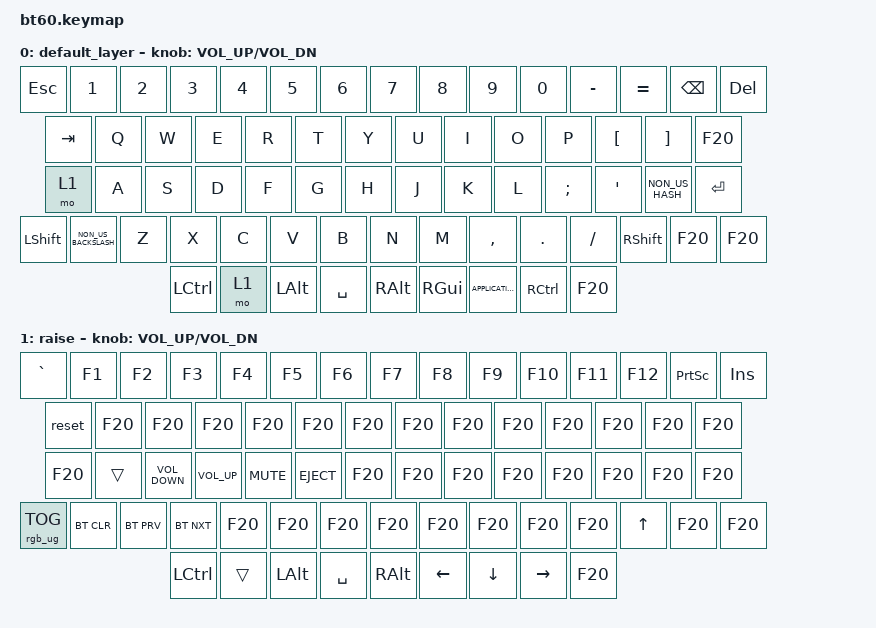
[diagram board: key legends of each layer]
#include <behaviors.dtsi>
#include <dt-bindings/zmk/keys.h>
#include <dt-bindings/zmk/bt.h>
#include <dt-bindings/zmk/rgb.h>
#include <dt-bindings/zmk/backlight.h>

/ {
    keymap {
        compatible = "zmk,keymap";

        default_layer {

        	bindings = <
			&kp ESCAPE &kp N1 &kp N2 &kp N3 &kp N4 &kp N5 &kp N6 &kp N7 &kp N8 &kp N9 &kp N0 &kp MINUS &kp EQUAL &kp BACKSPACE &kp DELETE 
			&kp TAB &kp Q &kp W &kp E &kp R &kp T &kp Y &kp U &kp I &kp O &kp P &kp LEFT_BRACKET &kp RIGHT_BRACKET &kp F20 
			&mo 1 &kp A &kp S &kp D &kp F &kp G &kp H &kp J &kp K &kp L &kp SEMICOLON &kp SINGLE_QUOTE &kp NON_US_HASH &kp ENTER 
			&kp LEFT_SHIFT &kp NON_US_BACKSLASH &kp Z &kp X &kp C &kp V &kp B &kp N &kp M &kp COMMA &kp DOT &kp SLASH &kp RIGHT_SHIFT &kp F20 &kp F20
			&kp LEFT_CONTROL &mo 1 &kp LEFT_ALT &kp SPACE &kp RIGHT_ALT &kp RIGHT_GUI &kp K_APPLICATION &kp RIGHT_CONTROL &kp F20
		>;
            sensor-bindings = <&inc_dec_kp C_VOL_UP C_VOL_DN>;
        };
       	raise {
		bindings = <
			&kp GRAVE &kp F1 &kp F2 &kp F3 &kp F4 &kp F5 &kp F6 &kp F7 &kp F8 &kp F9 &kp F10 &kp F11 &kp F12 &kp PRINTSCREEN &kp INS 
			&reset &kp F20 &kp F20 &kp F20 &kp F20 &kp F20 &kp F20 &kp F20 &kp F20 &kp F20 &kp F20 &kp F20 &kp F20 &kp F20 &kp F20 
			&trans &kp C_VOLUME_DOWN &kp C_VOLUME_UP &kp C_MUTE &kp C_EJECT &kp F20 &kp F20 &kp F20 &kp F20 &kp F20 &kp F20 &kp F20 &kp F20 
			&rgb_ug RGB_TOG &bt BT_CLR &bt BT_PRV &bt BT_NXT &kp F20 &kp F20 &kp F20 &kp F20 &kp F20 &kp F20 &kp F20 &kp F20 &kp UP &kp F20 &kp F20
			&kp LEFT_CONTROL &trans &kp LEFT_ALT &kp SPACE &kp RIGHT_ALT &kp LEFT &kp DOWN &kp RIGHT &kp F20
		>;
            sensor-bindings = <&inc_dec_kp C_VOL_UP C_VOL_DN>;
        };
    };
};
